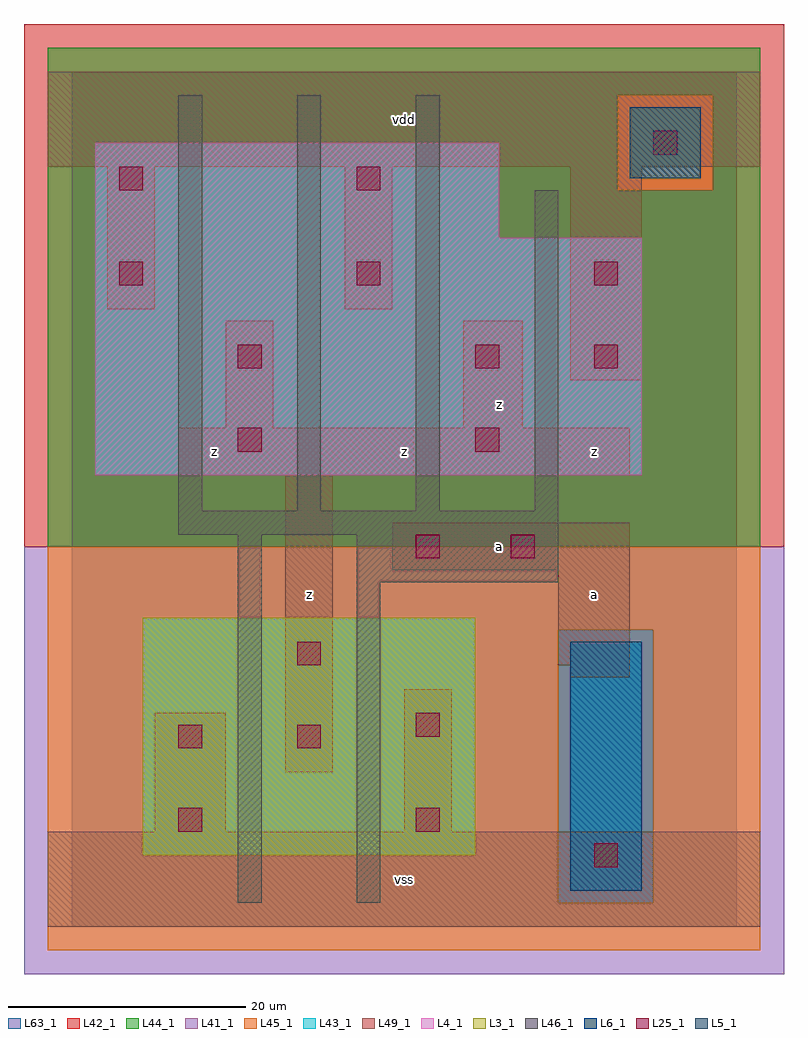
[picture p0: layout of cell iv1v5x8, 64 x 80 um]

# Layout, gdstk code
import gdstk
lib = gdstk.Library(unit=1e-6, precision=1e-09)
def R(c, l, rs):  # rectangles x0, y0, x1, y1
    for r in rs: c.add(gdstk.rectangle(r[:2], r[2:], *l))
def A(c, l, x, y, w, h, nx, ny, dx, dy):  # array of equal rectangles
    R(c, l, [(x+i*dx, y+j*dy, x+i*dx+w, y+j*dy+h) for i in range(nx) for j in range(ny)])
L3_1 = (3, 1)
L4_1 = (4, 1)
L5_1 = (5, 1)
L6_1 = (6, 1)
L25_1 = (25, 1)
L41_1 = (41, 1)
L42_1 = (42, 1)
L43_1 = (43, 1)
L44_1 = (44, 1)
L45_1 = (45, 1)
L46_1 = (46, 1)
L49_1 = (49, 1)
L63_1 = (63, 1)

iv1v5x8 = lib.new_cell('iv1v5x8')
R(iv1v5x8, L3_1, [(6,6,34,26)])
R(iv1v5x8, L4_1, [(2,38,48,58), (2,58,36,66)])
R(iv1v5x8, L5_1, [(47,63,53,69)])
R(iv1v5x8, L6_1, [(42,3,48,24), (42,3,48,24)])
A(iv1v5x8, L25_1, 4, 54, 2, 2, 3, 1, 20, 0)
R(iv1v5x8, L25_1, [(44,5,46,7), (9,8,11,10), (29,8,31,10), (9,15,11,17), (19,15,21,17), (29,16,31,18), (19,22,21,24), (29,31,31,33), (37,31,39,33), (14,40,16,42), (34,40,36,42), (14,47,16,49), (34,47,36,49), (44,47,46,49), (4,62,6,64), (24,62,26,64), (49,65,51,67)])
R(iv1v5x8, L41_1, [(-4,-4,60,32)])
R(iv1v5x8, L42_1, [(-4,32,60,76)])
R(iv1v5x8, L43_1, [(42,3,48,24), (6,6,34,26), (2,38,48,58), (2,58,36,66), (47,63,53,69)])
R(iv1v5x8, L44_1, [(41,2,49,25), (-2,32,58,62), (-2,62,46,70), (54,62,58,70), (-2,70,58,74)])
R(iv1v5x8, L45_1, [(-2,-2,58,2), (-2,2,41,25), (49,2,58,25), (-2,25,58,32), (46,62,54,70)])
A(iv1v5x8, L46_1, 9, 35, 2, 35, 3, 1, 10, 0)
R(iv1v5x8, L46_1, [(14,2,16,33), (24,2,26,29), (24,29,41,33), (9,33,41,35), (39,35,41,62)])
R(iv1v5x8, L49_1, [(-2,0,58,8), (7,8,13,18), (28,8,32,20), (18,13,22,38), (42,21,47,22), (41,22,47,30), (27,30,47,34), (9,38,47,42), (13,42,17,51), (33,42,38,51), (42,46,48,64), (3,52,7,64), (23,52,27,64), (-2,64,58,72)])
R(iv1v5x8, L63_1, [(0,0,56,72)])
iv1v5x8.add(gdstk.Label('z', (20,28), layer=49, texttype=1))
iv1v5x8.add(gdstk.Label('z', (12,40), layer=49, texttype=1))
iv1v5x8.add(gdstk.Label('vss', (28,4), layer=49, texttype=1))
iv1v5x8.add(gdstk.Label('a', (36,32), layer=49, texttype=1))
iv1v5x8.add(gdstk.Label('z', (28,40), layer=49, texttype=1))
iv1v5x8.add(gdstk.Label('z', (36,44), layer=49, texttype=1))
iv1v5x8.add(gdstk.Label('vdd', (28,68), layer=49, texttype=1))
iv1v5x8.add(gdstk.Label('a', (44,28), layer=49, texttype=1))
iv1v5x8.add(gdstk.Label('z', (44,40), layer=49, texttype=1))

lib.write_gds('iv1v5x8.gds')
